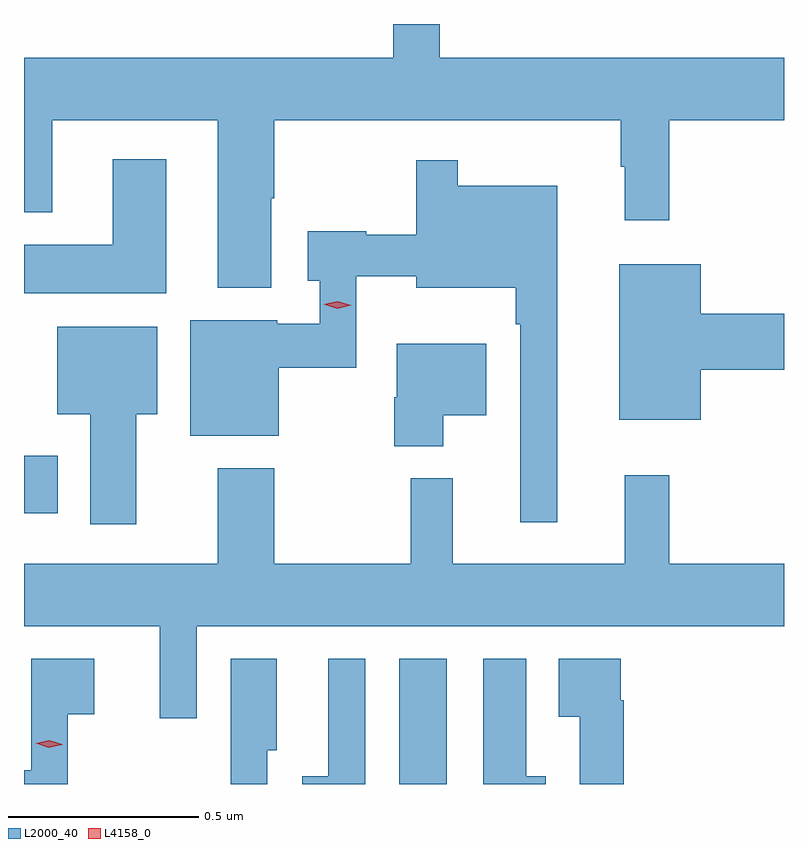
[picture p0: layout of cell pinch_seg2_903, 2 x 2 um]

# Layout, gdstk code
import gdstk
lib = gdstk.Library(unit=1e-6, precision=1e-09)
def R(c, l, rs):  # rectangles x0, y0, x1, y1
    for r in rs: c.add(gdstk.rectangle(r[:2], r[2:], *l))
def P(c, l, *ps):  # polygons
    for p in ps: c.add(gdstk.Polygon(p, *l))
L2000_40 = (2000, 40)
L4158_0 = (4158, 0)

pinch_seg2_903 = lib.new_cell('pinch_seg2_903')
R(pinch_seg2_903, L2000_40, [(487.484,600.601,487.609,600.931), (486.497,601.313,486.586,601.465)])
P(pinch_seg2_903, L2000_40, [(487.591,602.601),(487.469,602.601),(487.469,602.512),(486.497,602.512),(486.497,602.105),(486.571,602.105),(486.571,602.348),(487.007,602.348),(487.007,601.907),(487.147,601.907),(487.147,602.143),(487.155,602.143),(487.155,602.348),(488.067,602.348),(488.067,602.225),(488.078,602.225),(488.078,602.085),(488.195,602.085),(488.195,602.348),(488.497,602.348),(488.497,602.512),(487.591,602.512)],
  [(486.871,602.245),(486.731,602.245),(486.731,602.02),(486.497,602.02),(486.497,601.892),(486.871,601.892)],
  [(487.9,602.176),(487.639,602.176),(487.639,602.242),(487.529,602.242),(487.529,602.047),(487.398,602.047),(487.398,602.055),(487.244,602.055),(487.244,601.925),(487.275,601.925),(487.275,601.812),(487.164,601.812),(487.164,601.822),(486.935,601.822),(486.935,601.517),(487.168,601.517),(487.168,601.696),(487.371,601.696),(487.371,601.937),(487.529,601.937),(487.529,601.907),(487.791,601.907),(487.791,601.811),(487.803,601.811),(487.803,601.29),(487.9,601.29)],
  [(488.278,601.691),(488.497,601.691),(488.497,601.838),(488.278,601.838),(488.278,601.969),(488.063,601.969),(488.063,601.559),(488.278,601.559)],
  [(486.793,601.574),(486.847,601.574),(486.847,601.804),(486.584,601.804),(486.584,601.574),(486.671,601.574),(486.671,601.284),(486.793,601.284)],
  [(487.6,601.571),(487.714,601.571),(487.714,601.759),(487.478,601.759),(487.478,601.619),(487.471,601.619),(487.471,601.49),(487.6,601.49)],
  [(486.951,601.016),(488.497,601.016),(488.497,601.18),(488.195,601.18),(488.195,601.414),(488.078,601.414),(488.078,601.18),(487.625,601.18),(487.625,601.405),(487.515,601.405),(487.515,601.18),(487.155,601.18),(487.155,601.432),(487.007,601.432),(487.007,601.18),(486.497,601.18),(486.497,601.016),(486.854,601.016),(486.854,600.774),(486.951,600.774)],
  [(487.87,600.622),(487.819,600.622),(487.819,600.931),(487.706,600.931),(487.706,600.601),(487.87,600.601)],
  [(487.137,600.69),(487.162,600.69),(487.162,600.931),(487.041,600.931),(487.041,600.601),(487.137,600.601)],
  [(487.395,600.931),(487.298,600.931),(487.298,600.622),(487.229,600.622),(487.229,600.601),(487.395,600.601)],
  [(488.075,600.821),(488.068,600.821),(488.068,600.931),(487.904,600.931),(487.904,600.778),(487.959,600.778),(487.959,600.601),(488.075,600.601)],
  [(486.612,600.785),(486.682,600.785),(486.682,600.931),(486.516,600.931),(486.516,600.637),(486.497,600.637),(486.497,600.601),(486.612,600.601)])
P(pinch_seg2_903, L4158_0, [(486.562,600.696),(486.528,600.708),(486.527,600.708),(486.528,600.708),(486.563,600.716),(486.597,600.705),(486.597,600.704),(486.597,600.704)],
  [(487.321,601.852),(487.286,601.863),(487.286,601.864),(487.286,601.864),(487.322,601.872),(487.358,601.861),(487.358,601.861),(487.358,601.861)])

lib.write_gds('pinch_seg2_903.gds')
